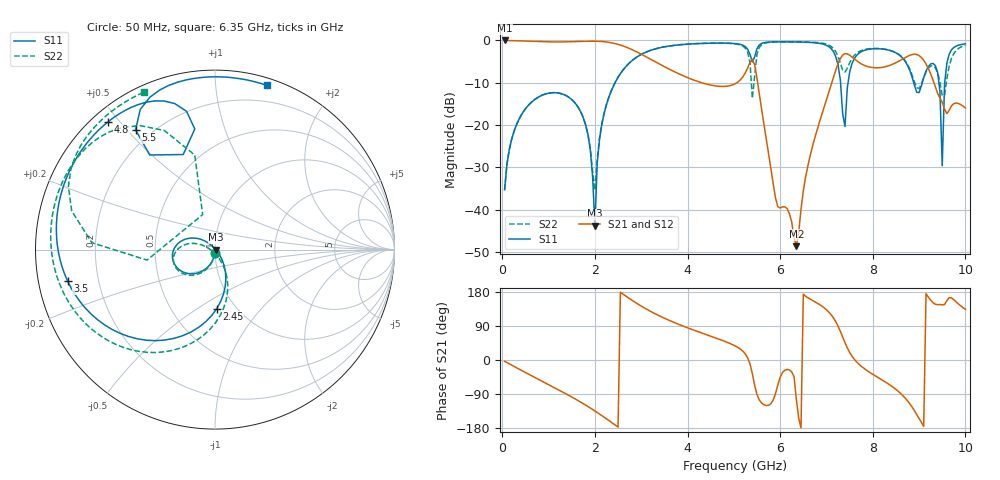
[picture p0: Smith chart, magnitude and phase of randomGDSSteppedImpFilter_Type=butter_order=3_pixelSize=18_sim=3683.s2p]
! freq	dB(S11)	phase(S11)	dB(S12)	phase(S12)
!  dB(S21)	phase(S21)	dB(S22)	phase(S22)
!S-par simulation data
#  GHz  S  DB  R 50
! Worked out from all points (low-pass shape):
!   200 points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, 50 MHz to 10 GHz, reference 50 ohm
!   highest |S21| = -0.01 dB at 50 MHz (marker M1); lowest = -48.6 dB at 6.35 GHz (marker M2)
!   |S21| within 3 dB of the highest: start of sweep to 2.958 GHz
!   lowest |S11| = -43.8 dB at 2 GHz (marker M3), VSWR 1.01, Z = 50.7 + j0.0132 ohm
!   |S11| at or under -10 dB: start of sweep to 2.435 GHz; 7.304 GHz to 7.466 GHz (162.3 MHz wide, 2.2 % of centre); 8.884 GHz to 9.068 GHz (184.1 MHz wide, 2.05 % of centre) (the widest 3 of 4)
!   |S22| runs from -35.4 to -0.3 dB; largest |S21 - S12| = 0
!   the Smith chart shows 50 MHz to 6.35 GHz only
!   S11 on the Smith chart (normalised r, x): 50 MHz: 1.00, -0.03; 2.45 GHz: 0.82, -0.60; 3.5 GHz: 0.09, -0.10; 4.8 GHz: 0.05, +0.47; 5.5 GHz: 0.14, +0.53; 6.35 GHz: 0.06, +1.36
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0.05  -35.28 -93.2  -0.01 -3.4  -0.01 -3.4  -35.27 -92.9
0.65  -14.40 -134.9  -0.22 -42.8  -0.22 -42.8  -14.39 -131.5
1.75  -18.30 148.8  -0.21 -115.3  -0.21 -115.3  -18.27 163.5
2  -43.78 1.2  -0.18 -134.5  -0.18 -134.5  -35.42 -114.2
2.1  -23.31 -54.9  -0.22 -142.6  -0.22 -142.6  -22.99 -63.0
2.45  -9.67 -88.2  -0.78 -172.7  -0.78 -172.7  -9.63 -81.6
3.4  -1.74 -162.0  -5.61 116.0  -5.61 116.0  -1.72 -147.8
3.5  -1.52 -168.0  -6.19 110.3  -6.19 110.3  -1.50 -153.1
4.8  -0.64 129.8  -10.85 49.4  -10.85 49.4  -0.65 151.5
5.05  -0.78 117.8  -10.09 35.7  -10.09 35.7  -0.84 139.0
5.4  -5.06 108.5  -4.45 -36.3  -4.45 -36.3  -13.70 109.4
5.5  -1.93 123.6  -9.00 -91.1  -9.00 -91.1  -3.25 176.8
6.35  -0.36 72.5  -48.59 -104.7  -48.59 -104.7  -0.34 114.2
6.7  -0.51 53.1  -24.97 157.2  -24.97 157.2  -0.43 99.1
7.2  -3.79 -0.9  -7.04 101.3  -7.04 101.3  -2.65 65.7
7.4  -20.33 90.6  -3.11 45.6  -3.11 45.6  -7.47 82.8
7.6  -4.32 72.6  -4.37 2.1  -4.37 2.1  -3.56 94.1
8.35  -2.31 9.9  -5.96 -64.3  -5.96 -64.3  -2.28 49.9
9.35  -5.92 -7.7  -10.95 147.1  -10.95 147.1  -6.44 15.2
9.5  -29.60 44.3  -14.62 145.3  -14.62 145.3  -13.00 -70.6
9.6  -5.34 69.7  -17.28 156.7  -17.28 156.7  -9.04 173.0
10  -0.81 8.5  -15.96 133.7  -15.96 133.7  -1.16 72.8
